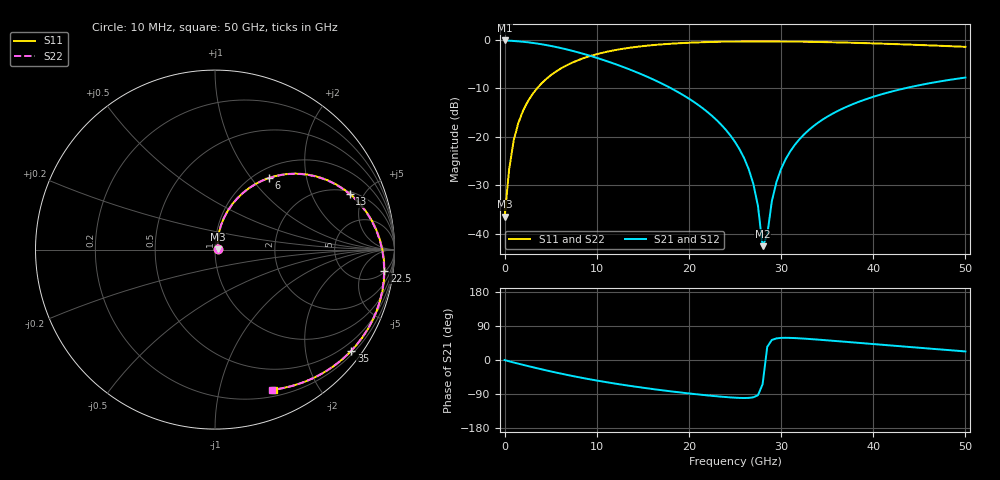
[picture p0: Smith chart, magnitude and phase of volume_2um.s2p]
#  GHZ S DB R 50.0
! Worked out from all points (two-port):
!   102 points, 10 MHz to 50 GHz, reference 50 ohm
!   highest |S21| = -0.13 dB at 10 MHz (marker M1); lowest = -42.6 dB at 28 GHz (marker M2)
!   |S21| within 3 dB of the highest: start of sweep to 8.988 GHz
!   lowest |S11| = -36.5 dB at 10 MHz (marker M3), VSWR 1.03, Z = 51.5 + j0.0881 ohm
!   |S11| at or under -10 dB: start of sweep to 3.534 GHz
!   |S22| runs from -36.5 to -0.3 dB; largest |S21 - S12| = 1.4e-12
!   S11 on the Smith chart (normalised r, x): 10 MHz: 1.03, +0.00; 6 GHz: 1.16, +1.23; 13 GHz: 2.14, +3.92; 22.5 GHz: 6, -14; 35 GHz: 0.28, -3.01; 50 GHz: 0.27, -1.47
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0.01  -36.52 3.3  -0.13 -0.1  -0.13 -0.1  -36.52 3.3
0.5  -26.75 71.1  -0.17 -3.5  -0.17 -3.5  -26.75 71.1
1  -20.72 77.0  -0.24 -6.6  -0.24 -6.6  -20.72 76.9
1.5  -17.16 76.3  -0.31 -9.7  -0.31 -9.7  -17.17 76.2
3.5  -10.07 66.4  -0.76 -21.5  -0.76 -21.5  -10.08 66.3
6  -6.04 53.1  -1.65 -35.3  -1.65 -35.3  -6.05 53.0
8.5  -3.84 41.0  -2.86 -47.5  -2.86 -47.5  -3.85 40.9
13  -1.80 22.5  -5.70 -66.0  -5.70 -66.0  -1.81 22.3
17  -0.95 8.8  -8.96 -79.5  -8.96 -79.5  -0.96 8.6
22.5  -0.44 -7.0  -15.67 -94.5  -15.67 -94.5  -0.45 -7.3
25.5  -0.34 -14.8  -22.60 -100.0  -22.60 -100.0  -0.35 -15.1
27  -0.32 -18.4  -29.78 -98.4  -29.78 -98.4  -0.33 -18.8
27.5  -0.32 -19.6  -34.33 -92.8  -34.33 -92.8  -0.33 -20.0
28  -0.32 -20.8  -42.59 -63.8  -42.59 -63.8  -0.33 -21.2
28.5  -0.32 -22.0  -40.32 34.6  -40.32 34.6  -0.34 -22.4
29  -0.33 -23.2  -33.32 52.9  -33.32 52.9  -0.34 -23.5
30  -0.34 -25.5  -26.67 58.3  -26.67 58.3  -0.35 -25.9
31.5  -0.37 -28.9  -21.67 57.8  -21.67 57.8  -0.38 -29.3
33.5  -0.43 -33.3  -17.84 54.7  -17.84 54.7  -0.44 -33.8
35  -0.48 -36.5  -15.88 51.9  -15.88 51.9  -0.50 -37.0
42  -0.86 -51.1  -10.67 38.2  -10.67 38.2  -0.88 -51.8
50  -1.45 -67.1  -7.79 22.6  -7.79 22.6  -1.48 -68.0
